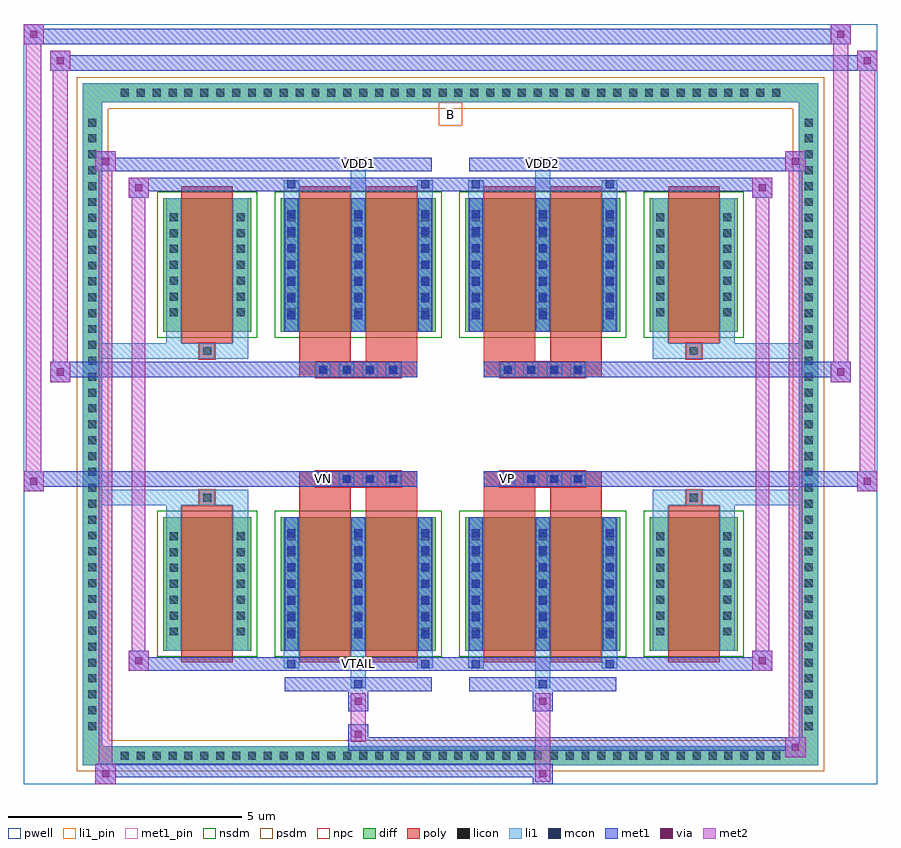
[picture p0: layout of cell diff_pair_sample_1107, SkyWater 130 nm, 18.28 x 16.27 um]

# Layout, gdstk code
import gdstk
lib = gdstk.Library(unit=1e-6, precision=5e-09)
def R(c, l, rs):  # rectangles x0, y0, x1, y1
    for r in rs: c.add(gdstk.rectangle(r[:2], r[2:], *l))
def A(c, l, x, y, w, h, nx, ny, dx, dy):  # array of equal rectangles
    R(c, l, [(x+i*dx, y+j*dy, x+i*dx+w, y+j*dy+h) for i in range(nx) for j in range(ny)])
def P(c, l, *ps):  # polygons
    for p in ps: c.add(gdstk.Polygon(p, *l))
pwell = (64, 44)
diff = (65, 20)
poly = (66, 20)
licon = (66, 44)
li1_pin = (67, 16)
li1 = (67, 20)
mcon = (67, 44)
met1_pin = (68, 16)
met1 = (68, 20)
via = (68, 44)
met2 = (69, 20)
nsdm = (93, 44)
psdm = (94, 20)
npc = (95, 20)

diff_pair_sample_1107 = lib.new_cell('diff_pair_sample_1107')
R(diff_pair_sample_1107, pwell, [(-9.14,-7.7,9.14,8.57), (-6.46,-5.89,-0.01,-0.805), (0.01,-5.89,6.46,-0.805), (-6.46,0.805,-0.01,5.89), (0.01,0.805,6.46,5.89)])
A(diff_pair_sample_1107, diff, -7.175, -7.3, 0.41, 0.41, 42, 2, 0.34, 14.19)
A(diff_pair_sample_1107, diff, -7.87, -6.665, 0.41, 0.41, 1, 39, 0, 0.34)
A(diff_pair_sample_1107, diff, 7.46, -6.665, 0.41, 0.41, 1, 39, 0, 0.34)
R(diff_pair_sample_1107, diff, [(-7.175,-7.3,7.175,-6.89), (-7.87,-6.665,-7.46,6.665), (7.46,-6.665,7.87,6.665), (-6.15,-4.845,-4.27,-1.985), (-3.63,-4.845,-0.32,-1.985), (0.32,-4.845,3.63,-1.985), (4.27,-4.845,6.15,-1.985), (-6.15,1.985,-4.27,4.845), (-3.63,1.985,-0.32,4.845), (0.32,1.985,3.63,4.845), (4.27,1.985,6.15,4.845), (-7.175,6.89,7.175,7.3)])
P(diff_pair_sample_1107, diff, [(7.87,7.3),(-7.87,7.3),(-7.87,-6.89),(-7.46,-6.89),(-7.46,6.89),(7.46,6.89),(7.46,-6.89),(-7.46,-6.89),(-7.87,-6.89),(-7.87,-7.3),(7.87,-7.3)])
A(diff_pair_sample_1107, poly, -2.89, -1.335, 0.33, 0.33, 4, 2, 0.5, 2.34)
A(diff_pair_sample_1107, poly, 1.06, -1.335, 0.33, 0.33, 4, 2, 0.5, 2.34)
R(diff_pair_sample_1107, poly, [(-5.76,-5.095,-4.66,-1.735), (-3.24,-5.095,-2.14,-1.735), (-1.81,-5.095,-0.71,-1.735), (0.71,-5.095,1.81,-1.735), (2.14,-5.095,3.24,-1.735), (4.66,-5.095,5.76,-1.735), (-5.375,-1.735,-5.045,-1.405), (-5.375,-1.735,-5.045,-1.405), (-3.24,-1.735,-2.14,-1.335), (-1.81,-1.735,-0.71,-1.335), (0.71,-1.735,1.81,-1.335), (2.14,-1.735,3.24,-1.335), (5.045,-1.735,5.375,-1.405), (5.045,-1.735,5.375,-1.405), (-3.24,-1.335,-0.71,-1.005), (0.71,-1.335,3.24,-1.005), (-3.24,1.005,-0.71,1.335), (0.71,1.005,3.24,1.335), (-3.24,1.335,-2.14,1.735), (-1.81,1.335,-0.71,1.735), (0.71,1.335,1.81,1.735), (2.14,1.335,3.24,1.735), (-5.375,1.405,-5.045,1.735), (-5.375,1.405,-5.045,1.735), (5.045,1.405,5.375,1.735), (5.045,1.405,5.375,1.735), (-5.76,1.735,-4.66,5.095), (-3.24,1.735,-2.14,5.095), (-1.81,1.735,-0.71,5.095), (0.71,1.735,1.81,5.095), (2.14,1.735,3.24,5.095), (4.66,1.735,5.76,5.095)])
A(diff_pair_sample_1107, licon, -7.055, -7.18, 0.17, 0.17, 42, 2, 0.34, 14.19)
A(diff_pair_sample_1107, licon, -7.75, -6.545, 0.17, 0.17, 1, 39, 0, 0.34)
A(diff_pair_sample_1107, licon, 7.58, -6.545, 0.17, 0.17, 1, 39, 0, 0.34)
A(diff_pair_sample_1107, licon, -6.01, -4.52, 0.17, 0.17, 1, 7, 0, 0.34)
A(diff_pair_sample_1107, licon, -4.58, -4.52, 0.17, 0.17, 1, 7, 0, 0.34)
A(diff_pair_sample_1107, licon, -3.49, -4.52, 0.17, 0.17, 3, 7, 1.43, 0.34)
A(diff_pair_sample_1107, licon, 0.46, -4.52, 0.17, 0.17, 3, 7, 1.43, 0.34)
A(diff_pair_sample_1107, licon, 4.41, -4.52, 0.17, 0.17, 1, 7, 0, 0.34)
A(diff_pair_sample_1107, licon, 5.84, -4.52, 0.17, 0.17, 1, 7, 0, 0.34)
A(diff_pair_sample_1107, licon, -2.81, -1.255, 0.17, 0.17, 4, 2, 0.5, 2.34)
A(diff_pair_sample_1107, licon, 1.14, -1.255, 0.17, 0.17, 4, 2, 0.5, 2.34)
A(diff_pair_sample_1107, licon, -6.01, 2.31, 0.17, 0.17, 1, 7, 0, 0.34)
A(diff_pair_sample_1107, licon, -4.58, 2.31, 0.17, 0.17, 1, 7, 0, 0.34)
A(diff_pair_sample_1107, licon, -3.49, 2.31, 0.17, 0.17, 3, 7, 1.43, 0.34)
A(diff_pair_sample_1107, licon, 0.46, 2.31, 0.17, 0.17, 3, 7, 1.43, 0.34)
A(diff_pair_sample_1107, licon, 4.41, 2.31, 0.17, 0.17, 1, 7, 0, 0.34)
A(diff_pair_sample_1107, licon, 5.84, 2.31, 0.17, 0.17, 1, 7, 0, 0.34)
R(diff_pair_sample_1107, licon, [(-5.295,-1.655,-5.125,-1.485), (5.125,-1.655,5.295,-1.485), (-5.295,1.485,-5.125,1.655), (5.125,1.485,5.295,1.655)])
R(diff_pair_sample_1107, li1_pin, [(-0.25,6.39,0.25,6.89)])
A(diff_pair_sample_1107, li1, -7.135, -7.26, 0.33, 0.33, 42, 2, 0.34, 14.19)
A(diff_pair_sample_1107, li1, -7.83, -6.625, 0.33, 0.33, 1, 39, 0, 0.34)
A(diff_pair_sample_1107, li1, 7.5, -6.625, 0.33, 0.33, 1, 39, 0, 0.34)
A(diff_pair_sample_1107, li1, -3.57, -4.845, 0.33, 2.86, 3, 2, 1.43, 6.83)
A(diff_pair_sample_1107, li1, 0.38, -4.845, 0.33, 2.86, 3, 2, 1.43, 6.83)
A(diff_pair_sample_1107, li1, -6.09, -4.6, 0.33, 0.33, 1, 7, 0, 0.34)
A(diff_pair_sample_1107, li1, -4.66, -4.6, 0.33, 0.33, 1, 7, 0, 0.34)
A(diff_pair_sample_1107, li1, -3.57, -4.6, 0.33, 0.33, 3, 7, 1.43, 0.34)
A(diff_pair_sample_1107, li1, 0.38, -4.6, 0.33, 0.33, 3, 7, 1.43, 0.34)
A(diff_pair_sample_1107, li1, 4.33, -4.6, 0.33, 0.33, 1, 7, 0, 0.34)
A(diff_pair_sample_1107, li1, 5.76, -4.6, 0.33, 0.33, 1, 7, 0, 0.34)
A(diff_pair_sample_1107, li1, -3.49, -4.58, 0.17, 0.17, 3, 7, 1.43, 0.36)
A(diff_pair_sample_1107, li1, -3.49, -4.58, 0.17, 2.33, 3, 2, 1.43, 6.83)
A(diff_pair_sample_1107, li1, 0.46, -4.58, 0.17, 0.17, 3, 7, 1.43, 0.36)
A(diff_pair_sample_1107, li1, 0.46, -4.58, 0.17, 2.33, 3, 2, 1.43, 6.83)
A(diff_pair_sample_1107, li1, -2.89, -1.335, 0.33, 0.33, 4, 2, 0.5, 2.34)
A(diff_pair_sample_1107, li1, 1.06, -1.335, 0.33, 0.33, 4, 2, 0.5, 2.34)
A(diff_pair_sample_1107, li1, -6.09, 2.23, 0.33, 0.33, 1, 7, 0, 0.34)
A(diff_pair_sample_1107, li1, -4.66, 2.23, 0.33, 0.33, 1, 7, 0, 0.34)
A(diff_pair_sample_1107, li1, -3.57, 2.23, 0.33, 0.33, 3, 7, 1.43, 0.34)
A(diff_pair_sample_1107, li1, 0.38, 2.23, 0.33, 0.33, 3, 7, 1.43, 0.34)
A(diff_pair_sample_1107, li1, 4.33, 2.23, 0.33, 0.33, 1, 7, 0, 0.34)
A(diff_pair_sample_1107, li1, 5.76, 2.23, 0.33, 0.33, 1, 7, 0, 0.34)
A(diff_pair_sample_1107, li1, -3.49, 2.25, 0.17, 0.17, 3, 7, 1.43, 0.36)
A(diff_pair_sample_1107, li1, 0.46, 2.25, 0.17, 0.17, 3, 7, 1.43, 0.36)
R(diff_pair_sample_1107, li1, [(-7.87,-7.3,-7.46,-6.89), (-7.87,-7.3,-7.46,-6.89), (-7.46,-7.3,7.46,-6.89), (7.46,-7.3,7.87,-6.89), (7.46,-7.3,7.87,-6.89), (-7.87,-6.89,-7.46,6.89), (7.46,-6.89,7.87,6.89), (-2.14,-5.65,-1.81,-4.845), (-2.06,-5.65,-1.89,-5.48), (1.81,-5.65,2.14,-4.845), (1.89,-5.65,2.06,-5.48), (-3.57,-5.22,-3.24,-4.845), (-3.49,-5.22,-3.32,-5.05), (-0.71,-5.22,-0.38,-4.845), (-0.63,-5.22,-0.46,-5.05), (0.38,-5.22,0.71,-4.845), (0.46,-5.22,0.63,-5.05), (3.24,-5.22,3.57,-4.845), (3.32,-5.22,3.49,-5.05), (-6.09,-4.845,-5.76,-1.985), (-4.66,-4.845,-4.33,-1.985), (4.33,-4.845,4.66,-1.985), (5.76,-4.845,6.09,-1.985), (-6.09,-1.985,-5.76,-1.405), (-4.66,-1.985,-4.33,-1.405), (4.33,-1.985,4.66,-1.405), (5.76,-1.985,6.09,-1.405), (-7.87,-1.735,-5.375,-1.405), (-6.09,-1.735,-5.375,-1.405), (-5.375,-1.735,-5.045,-1.405), (-5.045,-1.735,-4.33,-1.405), (4.33,-1.735,5.045,-1.405), (5.045,-1.735,5.375,-1.405), (5.045,-1.735,7.87,-1.405), (5.375,-1.735,6.09,-1.405), (-7.87,1.405,-5.375,1.735), (-6.09,1.405,-5.375,1.735), (-6.09,1.405,-5.76,1.985), (-5.375,1.405,-5.045,1.735), (-5.045,1.405,-4.33,1.735), (-4.66,1.405,-4.33,1.985), (4.33,1.405,5.045,1.735), (4.33,1.405,4.66,1.985), (5.045,1.405,5.375,1.735), (5.045,1.405,7.87,1.735), (5.375,1.405,6.09,1.735), (5.76,1.405,6.09,1.985), (-6.09,1.985,-5.76,4.845), (-4.66,1.985,-4.33,4.845), (4.33,1.985,4.66,4.845), (5.76,1.985,6.09,4.845), (-3.57,4.845,-3.24,5.22), (-2.14,4.845,-1.81,5.65), (-0.71,4.845,-0.38,5.22), (0.38,4.845,0.71,5.22), (1.81,4.845,2.14,5.65), (3.24,4.845,3.57,5.22), (-3.49,5.05,-3.32,5.22), (-0.63,5.05,-0.46,5.22), (0.46,5.05,0.63,5.22), (3.32,5.05,3.49,5.22), (-2.06,5.48,-1.89,5.65), (1.89,5.48,2.06,5.65), (-7.87,6.89,-7.46,7.3), (-7.87,6.89,-7.46,7.3), (-7.46,6.89,7.46,7.3), (7.46,6.89,7.87,7.3), (7.46,6.89,7.87,7.3)])
A(diff_pair_sample_1107, mcon, -3.49, -4.58, 0.17, 0.17, 3, 7, 1.43, 0.36)
A(diff_pair_sample_1107, mcon, 0.46, -4.58, 0.17, 0.17, 3, 7, 1.43, 0.36)
A(diff_pair_sample_1107, mcon, -2.81, -1.255, 0.17, 0.17, 4, 2, 0.5, 2.34)
A(diff_pair_sample_1107, mcon, 1.14, -1.255, 0.17, 0.17, 4, 2, 0.5, 2.34)
A(diff_pair_sample_1107, mcon, -3.49, 2.25, 0.17, 0.17, 3, 7, 1.43, 0.36)
A(diff_pair_sample_1107, mcon, 0.46, 2.25, 0.17, 0.17, 3, 7, 1.43, 0.36)
R(diff_pair_sample_1107, mcon, [(-2.06,-5.65,-1.89,-5.48), (1.89,-5.65,2.06,-5.48), (-3.49,-5.22,-3.32,-5.05), (-0.63,-5.22,-0.46,-5.05), (0.46,-5.22,0.63,-5.05), (3.32,-5.22,3.49,-5.05), (-3.49,5.05,-3.32,5.22), (-0.63,5.05,-0.46,5.22), (0.46,5.05,0.63,5.22), (3.32,5.05,3.49,5.22), (-2.06,5.48,-1.89,5.65), (1.89,5.48,2.06,5.65)])
R(diff_pair_sample_1107, met1_pin, [(-2.11,-5.26,-1.84,-4.99), (-2.86,-1.295,-2.59,-1.025), (1.09,-1.295,1.36,-1.025), (-2.11,5.44,-1.84,5.71), (1.84,5.44,2.11,5.71)])
A(diff_pair_sample_1107, met1, -3.55, -4.845, 0.29, 2.86, 3, 2, 1.43, 6.83)
A(diff_pair_sample_1107, met1, 0.4, -4.845, 0.29, 2.86, 3, 2, 1.43, 6.83)
A(diff_pair_sample_1107, met1, -3.55, -4.64, 0.29, 0.29, 3, 7, 1.43, 0.36)
A(diff_pair_sample_1107, met1, 0.4, -4.64, 0.29, 0.29, 3, 7, 1.43, 0.36)
A(diff_pair_sample_1107, met1, -2.87, -1.315, 0.29, 0.29, 4, 2, 0.5, 2.34)
A(diff_pair_sample_1107, met1, 1.08, -1.315, 0.29, 0.29, 4, 2, 0.5, 2.34)
A(diff_pair_sample_1107, met1, -3.55, 2.19, 0.29, 0.29, 3, 7, 1.43, 0.36)
A(diff_pair_sample_1107, met1, 0.4, 2.19, 0.29, 0.29, 3, 7, 1.43, 0.36)
R(diff_pair_sample_1107, met1, [(-7.6,-7.7,-7.17,-7.27), (1.76,-7.7,2.19,-7.27), (-7.6,-7.56,2.19,-7.27), (7.17,-7.13,7.6,-6.7), (-2.19,-6.99,7.6,-6.7), (-2.19,-6.85,-1.76,-6.42), (-2.19,-6.14,-1.76,-5.71), (1.76,-6.14,2.19,-5.71), (-3.55,-5.71,-0.4,-5.42), (-2.12,-5.71,-1.83,-5.42), (0.4,-5.71,3.55,-5.42), (1.83,-5.71,2.12,-5.42), (-6.89,-5.28,-6.46,-4.85), (-6.89,-5.28,-3.55,-4.99), (-3.55,-5.28,-3.26,-4.99), (-3.55,-5.28,-0.4,-4.99), (-0.69,-5.28,-0.4,-4.99), (-0.4,-5.28,0.4,-4.99), (0.4,-5.28,0.69,-4.99), (0.4,-5.28,3.55,-4.99), (3.26,-5.28,3.55,-4.99), (3.55,-5.28,6.89,-4.99), (6.46,-5.28,6.89,-4.85), (-9.14,-1.435,-8.71,-1.005), (8.71,-1.435,9.14,-1.005), (-9.14,-1.335,-0.71,-1.005), (-3.24,-1.335,-0.71,-1.005), (0.71,-1.335,3.24,-1.005), (0.71,-1.335,9.14,-1.005), (-8.57,0.905,-8.14,1.335), (8.14,0.905,8.57,1.335), (-8.57,1.005,-3.24,1.335), (-3.24,1.005,-0.71,1.335), (0.71,1.005,3.24,1.335), (3.24,1.005,8.57,1.335), (-6.89,4.85,-6.46,5.28), (6.46,4.85,6.89,5.28), (-6.89,4.99,-3.55,5.28), (-3.55,4.99,-3.26,5.28), (-3.55,4.99,-0.4,5.28), (-0.69,4.99,-0.4,5.28), (-0.4,4.99,0.4,5.28), (0.4,4.99,0.69,5.28), (0.4,4.99,3.55,5.28), (3.26,4.99,3.55,5.28), (3.55,4.99,6.89,5.28), (-7.6,5.42,-7.17,5.85), (-7.6,5.42,-3.55,5.71), (-3.55,5.42,-0.4,5.71), (-2.12,5.42,-1.83,5.71), (0.4,5.42,3.55,5.71), (1.83,5.42,2.12,5.71), (3.55,5.42,7.6,5.71), (7.17,5.42,7.6,5.85), (-8.57,7.57,-8.14,8), (-8.57,7.57,-6.46,7.9), (-6.46,7.57,6.46,7.9), (6.46,7.57,9.14,7.9), (8.71,7.57,9.14,8), (-9.14,8.14,-8.71,8.57), (-9.14,8.14,-6.46,8.47), (-6.46,8.14,6.46,8.47), (6.46,8.14,8.57,8.47), (8.14,8.14,8.57,8.57)])
R(diff_pair_sample_1107, via, [(-7.46,-7.56,-7.31,-7.41), (1.9,-7.56,2.05,-7.41), (7.31,-6.99,7.46,-6.84), (-2.05,-6.71,-1.9,-6.56), (-2.05,-6,-1.9,-5.85), (1.9,-6,2.05,-5.85), (-6.75,-5.14,-6.6,-4.99), (6.6,-5.14,6.75,-4.99), (-9,-1.295,-8.85,-1.145), (8.85,-1.295,9,-1.145), (-8.43,1.045,-8.28,1.195), (8.28,1.045,8.43,1.195), (-6.75,4.99,-6.6,5.14), (6.6,4.99,6.75,5.14), (-7.46,5.56,-7.31,5.71), (7.31,5.56,7.46,5.71), (-8.43,7.71,-8.28,7.86), (8.85,7.71,9,7.86), (-9,8.28,-8.85,8.43), (8.28,8.28,8.43,8.43)])
R(diff_pair_sample_1107, met2, [(-7.6,-7.7,-7.17,-7.27), (-7.53,-7.7,-7.24,5.85), (-7.24,-7.7,-7.17,-7.27), (-7.55,-7.65,-7.22,-7.32), (1.81,-7.65,2.14,-7.32), (1.81,-7.32,2.14,-6.09), (7.17,-7.13,7.6,-6.7), (7.24,-7.13,7.53,5.85), (7.53,-7.13,7.6,-6.7), (7.22,-7.08,7.55,-6.75), (-2.14,-6.8,-1.81,-6.47), (-2.14,-6.47,-1.81,-6.09), (-2.14,-6.09,-1.81,-5.76), (1.81,-6.09,2.14,-5.76), (-6.89,-5.28,-6.46,-4.85), (-6.82,-5.28,-6.53,5.28), (-6.53,-5.28,-6.46,-4.85), (6.46,-5.28,6.89,-4.85), (6.53,-5.28,6.82,5.28), (6.82,-5.28,6.89,-4.85), (-6.84,-5.23,-6.51,-4.9), (6.51,-5.23,6.84,-4.9), (-9.14,-1.435,-8.71,-1.005), (-9.09,-1.435,-8.76,8.57), (-8.76,-1.435,-8.71,-1.005), (8.71,-1.435,9.14,-1.005), (8.76,-1.435,9.09,8), (9.09,-1.435,9.14,-1.005), (-9.09,-1.385,-8.76,-1.055), (8.76,-1.385,9.09,-1.055), (-8.57,0.905,-8.14,1.335), (-8.52,0.905,-8.19,8), (-8.19,0.905,-8.14,1.335), (8.14,0.905,8.57,1.335), (8.19,0.905,8.52,8.57), (8.52,0.905,8.57,1.335), (-8.52,0.955,-8.19,1.285), (8.19,0.955,8.52,1.285), (-6.89,4.85,-6.46,5.28), (-6.53,4.85,-6.46,5.28), (6.46,4.85,6.89,5.28), (6.82,4.85,6.89,5.28), (-6.84,4.9,-6.51,5.23), (6.51,4.9,6.84,5.23), (-7.6,5.42,-7.17,5.85), (-7.24,5.42,-7.17,5.85), (7.17,5.42,7.6,5.85), (7.53,5.42,7.6,5.85), (-7.55,5.47,-7.22,5.8), (7.22,5.47,7.55,5.8), (-8.57,7.57,-8.14,8), (-8.19,7.57,-8.14,8), (8.71,7.57,9.14,8), (9.09,7.57,9.14,8), (-8.52,7.62,-8.19,7.95), (8.76,7.62,9.09,7.95), (-9.14,8.14,-8.71,8.57), (-8.76,8.14,-8.71,8.57), (8.14,8.14,8.57,8.57), (8.52,8.14,8.57,8.57), (-9.09,8.19,-8.76,8.52), (8.19,8.19,8.52,8.52)])
R(diff_pair_sample_1107, nsdm, [(-6.28,-4.975,-4.14,-1.855), (-3.76,-4.975,-0.19,-1.855), (0.19,-4.975,3.76,-1.855), (4.14,-4.975,6.28,-1.855), (-6.28,1.855,-4.14,4.975), (-3.76,1.855,-0.19,4.975), (0.19,1.855,3.76,4.975), (4.14,1.855,6.28,4.975)])
P(diff_pair_sample_1107, psdm, [(8,7.43),(-8,7.43),(-8,-6.76),(-7.33,-6.76),(-7.33,6.76),(7.33,6.76),(7.33,-6.76),(-7.33,-6.76),(-8,-6.76),(-8,-7.43),(8,-7.43)])
A(diff_pair_sample_1107, npc, -2.91, -1.355, 0.37, 0.37, 4, 2, 0.5, 2.34)
A(diff_pair_sample_1107, npc, 1.04, -1.355, 0.37, 0.37, 4, 2, 0.5, 2.34)
R(diff_pair_sample_1107, npc, [(-5.395,-1.755,-5.025,-1.385), (5.025,-1.755,5.395,-1.385), (-2.91,-1.355,-2.04,-0.985), (-2.91,-1.355,-2.04,-0.985), (-2.41,-1.355,-1.54,-0.985), (-2.41,-1.355,-1.54,-0.985), (-1.91,-1.355,-1.04,-0.985), (-1.91,-1.355,-1.04,-0.985), (1.04,-1.355,1.91,-0.985), (1.04,-1.355,1.91,-0.985), (1.54,-1.355,2.41,-0.985), (1.54,-1.355,2.41,-0.985), (2.04,-1.355,2.91,-0.985), (2.04,-1.355,2.91,-0.985), (-2.91,0.985,-2.04,1.355), (-2.91,0.985,-2.04,1.355), (-2.41,0.985,-1.54,1.355), (-2.41,0.985,-1.54,1.355), (-1.91,0.985,-1.04,1.355), (-1.91,0.985,-1.04,1.355), (1.04,0.985,1.91,1.355), (1.04,0.985,1.91,1.355), (1.54,0.985,2.41,1.355), (1.54,0.985,2.41,1.355), (2.04,0.985,2.91,1.355), (2.04,0.985,2.91,1.355), (-5.395,1.385,-5.025,1.755), (5.025,1.385,5.395,1.755)])
diff_pair_sample_1107.add(gdstk.Label('VTAIL', (-1.975,-5.125), layer=68, texttype=5))
diff_pair_sample_1107.add(gdstk.Label('VN', (-2.725,-1.16), layer=68, texttype=5))
diff_pair_sample_1107.add(gdstk.Label('VP', (1.225,-1.16), layer=68, texttype=5))
diff_pair_sample_1107.add(gdstk.Label('B', (0,6.64), layer=67, texttype=5))
diff_pair_sample_1107.add(gdstk.Label('VDD2', (1.975,5.575), layer=68, texttype=5))
diff_pair_sample_1107.add(gdstk.Label('VDD1', (-1.975,5.575), layer=68, texttype=5))

lib.write_gds('diff_pair_sample_1107.gds')
